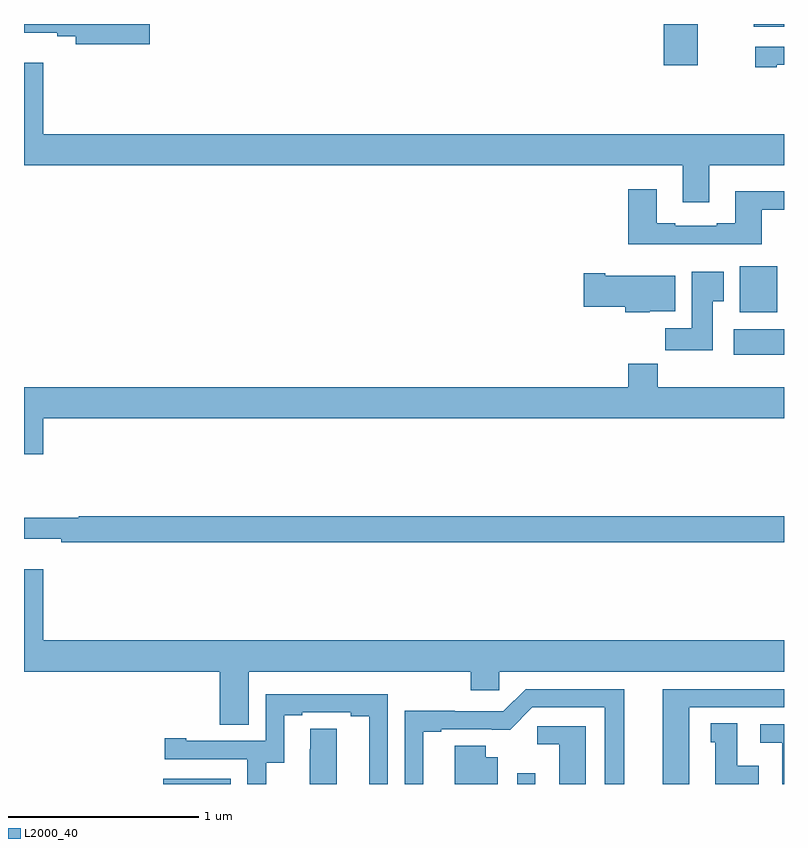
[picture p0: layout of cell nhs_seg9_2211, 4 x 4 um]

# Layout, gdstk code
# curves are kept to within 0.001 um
import gdstk
lib = gdstk.Library(unit=1e-6, precision=1e-09)
def R(c, l, rs):  # rectangles x0, y0, x1, y1
    for r in rs: c.add(gdstk.rectangle(r[:2], r[2:], *l))
def P(c, l, *ps):  # polygons
    for p in ps: c.add(gdstk.Polygon(p, *l))
L2000_40 = (2000, 40)

nhs_seg9_2211 = lib.new_cell('nhs_seg9_2211')
R(nhs_seg9_2211, L2000_40, [(237.734,1190.5,238.087,1190.527), (239.595,1190.5,239.691,1190.557), (240.735,1192.76,241,1192.894), (240.767,1192.982,240.964,1193.224), (240.368,1194.282,240.546,1194.5), (240.842,1194.485,241,1194.5)])
P(nhs_seg9_2211, L2000_40, [(237.661,1194.5),(237,1194.5),(237,1194.455),(237.176,1194.455),(237.176,1194.436),(237.272,1194.436),(237.272,1194.394),(237.661,1194.394)],
  [(240.961,1194.285),(241,1194.285),(241,1194.381),(240.849,1194.381),(240.849,1194.273),(240.961,1194.273)],
  [(240.607,1193.756),(241,1193.756),(241,1193.92),(237.1,1193.92),(237.1,1194.295),(237,1194.295),(237,1193.756),(240.467,1193.756),(240.467,1193.562),(240.607,1193.562)],
  [(240.883,1193.523),(241,1193.523),(241,1193.62),(240.743,1193.62),(240.743,1193.452),(240.647,1193.452),(240.647,1193.439),(240.427,1193.439),(240.427,1193.452),(240.331,1193.452),(240.331,1193.629),(240.179,1193.629),(240.179,1193.342),(240.883,1193.342)],
  [(240.625,1193.041),(240.682,1193.041),(240.682,1193.197),(240.515,1193.197),(240.515,1192.9),(240.376,1192.9),(240.376,1192.782),(240.625,1192.782)],
  [(240.294,1192.988),(240.427,1192.988),(240.427,1193.176),(240.058,1193.176),(240.058,1193.189),(239.946,1193.189),(239.946,1193.011),(240.164,1193.011),(240.164,1192.982),(240.294,1192.982)],
  [(237.1,1192.424),(241,1192.424),(241,1192.588),(240.335,1192.588),(240.335,1192.712),(240.179,1192.712),(240.179,1192.588),(237,1192.588),(237,1192.236),(237.1,1192.236)],
  [(241,1191.908),(237.287,1191.908),(237.287,1191.901),(237,1191.901),(237,1191.791),(237.196,1191.791),(237.196,1191.772),(241,1191.772)],
  [(238.183,1191.092),(239.351,1191.092),(239.351,1190.994),(239.502,1190.994),(239.502,1191.092),(241,1191.092),(241,1191.256),(237.1,1191.256),(237.1,1191.631),(237,1191.631),(237,1191.092),(238.031,1191.092),(238.031,1190.812),(238.183,1190.812)],
  [(240.502,1190.904),(241,1190.904),(241,1191),(240.362,1191),(240.362,1190.5),(240.502,1190.5)],
  [(239.101,1190.775),(239.197,1190.775),(239.197,1190.787),(239.558,1190.786),(239.676,1190.904),(240.056,1190.904),(240.056,1190.5),(240.16,1190.5),(240.16,1191),(239.64,1191),(239.523,1190.883),(239.267,1190.883),(239.267,1190.885),(239.004,1190.885),(239.004,1190.5),(239.101,1190.5)],
  [(238.275,1190.611),(238.369,1190.611),(238.369,1190.862),(238.465,1190.862),(238.465,1190.877),(238.721,1190.877),(238.721,1190.857),(238.817,1190.857),(238.817,1190.5),(238.914,1190.5),(238.914,1190.973),(238.272,1190.973),(238.272,1190.727),(237.853,1190.727),(237.853,1190.74),(237.741,1190.74),(237.741,1190.631),(238.176,1190.631),(238.176,1190.5),(238.275,1190.5)],
  [(240.868,1190.596),(240.754,1190.596),(240.754,1190.819),(240.614,1190.819),(240.614,1190.721),(240.638,1190.721),(240.638,1190.5),(240.868,1190.5)],
  [(241,1190.814),(240.876,1190.814),(240.876,1190.718),(240.992,1190.718),(240.992,1190.5),(241,1190.5)],
  [(239.956,1190.805),(239.7,1190.805),(239.7,1190.708),(239.816,1190.708),(239.816,1190.5),(239.956,1190.5)],
  [(238.645,1190.792),(238.506,1190.792),(238.506,1190.684),(238.505,1190.684),(238.505,1190.5),(238.645,1190.5)],
  [(239.494,1190.641),(239.431,1190.641),(239.431,1190.702),(239.267,1190.702),(239.267,1190.5),(239.494,1190.5)])

lib.write_gds('nhs_seg9_2211.gds')
